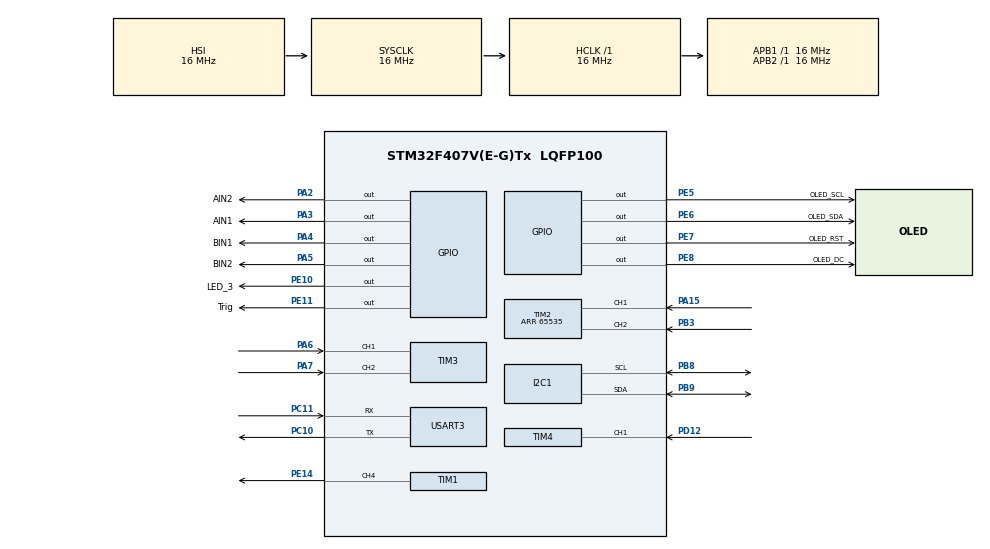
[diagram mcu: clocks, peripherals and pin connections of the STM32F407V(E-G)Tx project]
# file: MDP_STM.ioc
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FREERTOS.Tasks01=defaultTask,24,128,StartDefaultTask,Default,NULL,Dynamic,NULL,NULL;ShowText,8,128,show,Default,NULL,Dynamic,NULL,NULL;MotorTask,8,128,Motor,Default,NULL,Dynamic,NULL,NULL;EncoderTask,8,128,encoder_task,Default,NULL,Dynamic,NULL,NULL;gyroTask,8,128,gyro_task,Default,NULL,Dynamic,NULL,NULL;UltraSoundTask,8,128,ultrasound_task,Default,NULL,Dynamic,NULL,NULL
Mcu.Family=STM32F4
Mcu.Name=STM32F407V(E-G)Tx
Mcu.Package=LQFP100
NVIC.PriorityGroup=NVIC_PRIORITYGROUP_4
NVIC.TIM4_IRQn=true\:5\:0\:false\:false\:true\:true\:true\:true\:true
NVIC.USART3_IRQn=true\:5\:0\:false\:false\:true\:true\:true\:true\:true
PA15.Signal=S_TIM2_CH1_ETR
PA2.GPIO_Label=AIN2
PA2.GPIO_Speed=GPIO_SPEED_FREQ_HIGH
PA2.Signal=GPIO_Output
PA3.GPIO_Label=AIN1
PA3.GPIO_Speed=GPIO_SPEED_FREQ_HIGH
PA3.Signal=GPIO_Output
PA4.GPIO_Label=BIN1
PA4.GPIO_Speed=GPIO_SPEED_FREQ_HIGH
PA4.Signal=GPIO_Output
PA5.GPIO_Label=BIN2
PA5.GPIO_Speed=GPIO_SPEED_FREQ_HIGH
PA5.Signal=GPIO_Output
PA6.Signal=S_TIM3_CH1
PA7.Signal=S_TIM3_CH2
PB3.GPIO_ModeDefaultPP=GPIO_MODE_AF_PP
PB3.Signal=S_TIM2_CH2
PB8.Mode=I2C
PB8.Signal=I2C1_SCL
PB9.Mode=I2C
PB9.Signal=I2C1_SDA
PC10.Mode=Asynchronous
PC10.Signal=USART3_TX
PC11.Mode=Asynchronous
PC11.Signal=USART3_RX
PC6.GPIO_Label=PWMA
PC6.Signal=S_TIM8_CH1
PC7.GPIO_Label=PWNB
PC7.Signal=S_TIM8_CH2
PD12.Signal=S_TIM4_CH1
PE10.GPIO_Label=LED_3
PE10.Signal=GPIO_Output
PE11.GPIO_Label=Trig
PE11.Signal=GPIO_Output
PE14.Signal=S_TIM1_CH4
PE5.GPIO_Label=OLED_SCL
PE5.Signal=GPIO_Output
PE6.GPIO_Label=OLED_SDA
PE6.Signal=GPIO_Output
PE7.GPIO_Label=OLED_RST
PE7.Signal=GPIO_Output
PE8.GPIO_Label=OLED_DC
PE8.Signal=GPIO_Output
PH0-OSC_IN.Mode=HSE-External-Oscillator
PH0-OSC_IN.Signal=RCC_OSC_IN
PH1-OSC_OUT.Mode=HSE-External-Oscillator
PH1-OSC_OUT.Signal=RCC_OSC_OUT
ProjectManager.HeapSize=0x200
ProjectManager.StackSize=0x400
ProjectManager.TargetToolchain=STM32CubeIDE
RCC.AHBFreq_Value=16000000
RCC.APB1Freq_Value=16000000
RCC.APB2Freq_Value=16000000
RCC.CortexFreq_Value=16000000
RCC.HSE_VALUE=25000000
RCC.HSI_VALUE=16000000
RCC.LSE_VALUE=32768
RCC.SYSCLKFreq_VALUE=16000000
RCC.VCOOutputFreq_Value=192000000
SH.S_TIM1_CH4.0=TIM1_CH4,PWM Generation4 CH4
SH.S_TIM2_CH1_ETR.0=TIM2_CH1,Encoder_Interface
SH.S_TIM2_CH2.0=TIM2_CH2,Encoder_Interface
SH.S_TIM3_CH1.0=TIM3_CH1,Encoder_Interface
SH.S_TIM3_CH2.0=TIM3_CH2,Encoder_Interface
SH.S_TIM4_CH1.0=TIM4_CH1,Input_Capture1_from_TI1
SH.S_TIM8_CH1.0=TIM8_CH1
SH.S_TIM8_CH2.0=TIM8_CH2
TIM1.AutoReloadPreload=TIM_AUTORELOAD_PRELOAD_ENABLE
TIM1.Channel-PWM\ Generation4\ CH4=TIM_CHANNEL_4
TIM1.Period=1000
TIM1.Prescaler=160
TIM2.EncoderMode=TIM_ENCODERMODE_TI12
TIM2.IC1Filter=10
TIM2.IC2Filter=10
TIM2.Period=65535
TIM3.EncoderMode=TIM_ENCODERMODE_TI12
TIM3.IC1Filter=10
TIM3.IC2Filter=10
TIM4.Channel-Input_Capture1_from_TI1=TIM_CHANNEL_1
TIM4.Prescaler=16-1
TIM7.Prescaler=16-1
TIM8.Channel-PWM\ Generation1\ No\ Output=TIM_CHANNEL_1
TIM8.Channel-PWM\ Generation2\ No\ Output=TIM_CHANNEL_2
TIM8.Period=7199
USART3.VirtualMode=VM_ASYNC
VP_FREERTOS_VS_CMSIS_V2.Mode=CMSIS_V2
VP_TIM1_VS_ClockSourceINT.Mode=Internal
VP_TIM4_VS_ClockSourceINT.Mode=Internal
VP_TIM7_VS_ClockSourceINT.Mode=Enable_Timer
VP_TIM8_VS_ClockSourceINT.Mode=Internal
VP_TIM8_VS_no_output1.Mode=PWM Generation1 No Output
VP_TIM8_VS_no_output2.Mode=PWM Generation2 No Output
board=custom

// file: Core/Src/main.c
/* USER CODE BEGIN Header */
/**
  ******************************************************************************
  * @file           : main.c
  * @brief          : Main program body
  ******************************************************************************
  * @attention
  *
  * Copyright (c) 2022 STMicroelectronics.
  * All rights reserved.
  *
  * This software is licensed under terms that can be found in the LICENSE file
  * in the root directory of this software component.
  * If no LICENSE file comes with this software, it is provided AS-IS.
  *
  ******************************************************************************
  */
/* USER CODE END Header */
#include "main.h"
#include "cmsis_os.h"
#include "string.h"

/* USER CODE BEGIN Includes */
#include "oled.h"
#include "PID.h"
#include <stdio.h>
#include <stdlib.h>
/* USER CODE END Includes */

/* USER CODE BEGIN PTD */
typedef struct _command{
	char MOTOR_DIR;
	char SERVO_DIR;
	int MAGNITUDE;
} Cmd;
/* USER CODE END PTD */

I2C_HandleTypeDef hi2c1;

TIM_HandleTypeDef htim1;
TIM_HandleTypeDef htim2;
TIM_HandleTypeDef htim3;
TIM_HandleTypeDef htim4;
TIM_HandleTypeDef htim7;
TIM_HandleTypeDef htim8;

UART_HandleTypeDef huart3;

/* Definitions for defaultTask */
osThreadId_t defaultTaskHandle;
const osThreadAttr_t defaultTask_attributes = {
  .name = "defaultTask",
  .stack_size = 128 * 4,
  .priority = (osPriority_t) osPriorityNormal,
};
/* Definitions for ShowText */
osThreadId_t ShowTextHandle;
const osThreadAttr_t ShowText_attributes = {
  .name = "ShowText",
  .stack_size = 128 * 4,
  .priority = (osPriority_t) osPriorityLow,
};
/* Definitions for MotorTask */
osThreadId_t MotorTaskHandle;
const osThreadAttr_t MotorTask_attributes = {
  .name = "MotorTask",
  .stack_size = 128 * 4,
  .priority = (osPriority_t) osPriorityLow,
};
/* Definitions for EncoderTask */
osThreadId_t EncoderTaskHandle;
const osThreadAttr_t EncoderTask_attributes = {
  .name = "EncoderTask",
  .stack_size = 128 * 4,
  .priority = (osPriority_t) osPriorityLow,
};
/* Definitions for gyroTask */
osThreadId_t gyroTaskHandle;
const osThreadAttr_t gyroTask_attributes = {
  .name = "gyroTask",
  .stack_size = 128 * 4,
  .priority = (osPriority_t) osPriorityLow,
};
/* Definitions for UltraSoundTask */
osThreadId_t UltraSoundTaskHandle;
const osThreadAttr_t UltraSoundTask_attributes = {
  .name = "UltraSoundTask",
  .stack_size = 128 * 4,
  .priority = (osPriority_t) osPriorityLow,
};

void SystemClock_Config(void);
static void MX_GPIO_Init(void);
static void MX_TIM8_Init(void);
static void MX_TIM2_Init(void);
static void MX_TIM1_Init(void);
static void MX_TIM3_Init(void);
static void MX_USART3_UART_Init(void);
static void MX_I2C1_Init(void);
static void MX_TIM4_Init(void);
static void MX_TIM7_Init(void);
void StartDefaultTask(void *argument);
void show(void *argument);
void Motor(void *argument);
void encoder_task(void *argument);
void gyro_task(void *argument);
void ultrasound_task(void *argument);

/* USER CODE BEGIN PFP */
void forward_motor_prep();
void backward_motor_prep();
void servomotor_center();
void servomotor_left();
void servomotor_right();
void servomotor_set(int value);
void move(float distance , int frontorback, int leftorright);
void HAL_UART_RxCpltCallback(UART_HandleTypeDef *huart);
void send_message(uint8_t * header, uint8_t * message);
void process_UART_Rx();
void gyroInit();
void writeByte(uint8_t addr,uint8_t data);
void readByte(uint8_t addr, uint8_t* data);
void state_controller(Cmd *command);
void pid_controller();
void prep_robot(char MDIR, char SDIR);
void right_turn(int angle);
void left_turn(int angle);
void reset_trackers();
int calc_progress(Cmd command);
void HCSR04_Read (void);
void delay_us(uint16_t us);

/* USER CODE END PFP */

/* USER CODE BEGIN 0 */
//UART Global Variables
const int BUFFER_SIZE = 20;
uint8_t aRxBuffer[20]; //Buffer of 20 bytes
//Gyroscope Global Variables
uint8_t ICM_ADDR = 0x68;
uint8_t buff[20]; //Gyroscope buffer
double TOTAL_ANGLE = 0;
double TURNING_ANGLE = 0;
double TARGET_ANGLE = 0;
//OLED Global Variables
uint8_t OLED_Row_0[20],OLED_Row_1[20],OLED_Row_2[20],OLED_Row_3[20],OLED_Row_4[20],OLED_Row_5[20];
//Motor Global Variables
int PWML, PWMR;
int motor_dir; //Backward = -1, Stop = 0, Forward = 1
//Encoder Glober Variable
int left_speed, right_speed;
double LEFTWHEEL_DIST = 0;
double RIGHTWHEEL_DIST = 0;
//Servo Global Variables
int servo_dir; //Left = -1, Center = 0, Right = 1
int SERVO_CENTER = 150;
int SERVO_LEFTMAX = 100;
int SERVO_RIGHTMAX = 210;
int SERVO_CURRENT;
//State Control & PID Global Variables
int RX_FLAG = 0; //Signals when RX message received
int BUSY = 0; //Tracks when a command is being processed
int PID_DELAY = 0; //Delay PID for 500ms
int PID_ENABLE = 0; //PID on/off
int ANGLE_OFFSET = 0; //Angle offset for straight movement
char RX_MOTOR;
char RX_SERVO;
int RX_MAG;
//UART Global Variables
uint8_t TX_STRING[9]; //9 bytes to transfer (Header + 5 Byte message)
uint8_t UART_RPI[4] = {'R','P','I','|'};
uint8_t UART_ALG[4] = {'A','L','G','|'};
uint8_t UART_AND[4] = {'A','N','D','|'};
//Ultrasound Global Variables
uint32_t Echo_Val1 = 0;
uint32_t Echo_Val2 = 0;
uint32_t Difference = 0;
uint8_t Is_First_Captured = 0;
double ultra_Distance  = 0; //Ultrasound distance
//Nmber of ticks for one full rotation of wheel
double full_rotation_wheel = 1580;
double circumference_wheel = 21.3;
Cmd command;
/* USER CODE END 0 */

int main(void)
{

  /* MCU Configuration--------------------------------------------------------*/

  /* Reset of all peripherals, Initializes the Flash interface and the Systick. */
  HAL_Init();

  /* Configure the system clock */
  SystemClock_Config();

  /* Initialize all configured peripherals */
  MX_GPIO_Init();
  MX_TIM8_Init();
  MX_TIM2_Init();
  MX_TIM1_Init();
  MX_TIM3_Init();
  MX_USART3_UART_Init();
  MX_I2C1_Init();
  MX_TIM4_Init();
  MX_TIM7_Init();
  /* USER CODE BEGIN 2 */
  OLED_Init();
  HAL_TIM_Base_Start(&htim7); //start timer to use delay_ms function for ultrasonic task
  HAL_UART_Receive_IT(&huart3,(uint8_t *)aRxBuffer, 5); //Receive 3 bytes
  /* USER CODE END 2 */

  /* Init scheduler */
  osKernelInitialize();

  /* Create the thread(s) */
  /* creation of defaultTask */
  defaultTaskHandle = osThreadNew(StartDefaultTask, NULL, &defaultTask_attributes);

  /* creation of ShowText */
  ShowTextHandle = osThreadNew(show, NULL, &ShowText_attributes);

  /* creation of MotorTask */
  MotorTaskHandle = osThreadNew(Motor, NULL, &MotorTask_attributes);

  /* creation of EncoderTask */
  EncoderTaskHandle = osThreadNew(encoder_task, NULL, &EncoderTask_attributes);

  /* creation of gyroTask */
  gyroTaskHandle = osThreadNew(gyro_task, NULL, &gyroTask_attributes);

  /* creation of UltraSoundTask */
  UltraSoundTaskHandle = osThreadNew(ultrasound_task, NULL, &UltraSoundTask_attributes);

  /* Start scheduler */
  osKernelStart();

  /* We should never get here as control is now taken by the scheduler */
  /* Infinite loop */
  while (1)
  {

  }
}

void SystemClock_Config(void)
{
  RCC_OscInitTypeDef RCC_OscInitStruct = {0};
  RCC_ClkInitTypeDef RCC_ClkInitStruct = {0};

  /** Configure the main internal regulator output voltage
  */
  __HAL_RCC_PWR_CLK_ENABLE();
  __HAL_PWR_VOLTAGESCALING_CONFIG(PWR_REGULATOR_VOLTAGE_SCALE1);

  /** Initializes the RCC Oscillators according to the specified parameters
  * in the RCC_OscInitTypeDef structure.
  */
  RCC_OscInitStruct.OscillatorType = RCC_OSCILLATORTYPE_HSI;
  RCC_OscInitStruct.HSIState = RCC_HSI_ON;
  RCC_OscInitStruct.HSICalibrationValue = RCC_HSICALIBRATION_DEFAULT;
  RCC_OscInitStruct.PLL.PLLState = RCC_PLL_NONE;
  if (HAL_RCC_OscConfig(&RCC_OscInitStruct) != HAL_OK)
  {
    Error_Handler();
  }

  /** Initializes the CPU, AHB and APB buses clocks
  */
  RCC_ClkInitStruct.ClockType = RCC_CLOCKTYPE_HCLK|RCC_CLOCKTYPE_SYSCLK
                              |RCC_CLOCKTYPE_PCLK1|RCC_CLOCKTYPE_PCLK2;
  RCC_ClkInitStruct.SYSCLKSource = RCC_SYSCLKSOURCE_HSI;
  RCC_ClkInitStruct.AHBCLKDivider = RCC_SYSCLK_DIV1;
  RCC_ClkInitStruct.APB1CLKDivider = RCC_HCLK_DIV1;
  RCC_ClkInitStruct.APB2CLKDivider = RCC_HCLK_DIV1;

  if (HAL_RCC_ClockConfig(&RCC_ClkInitStruct, FLASH_LATENCY_0) != HAL_OK)
  {
    Error_Handler();
  }
}

static void MX_I2C1_Init(void)
{

  hi2c1.Instance = I2C1;
  hi2c1.Init.ClockSpeed = 100000;
  hi2c1.Init.DutyCycle = I2C_DUTYCYCLE_2;
  hi2c1.Init.OwnAddress1 = 0;
  hi2c1.Init.AddressingMode = I2C_ADDRESSINGMODE_7BIT;
  hi2c1.Init.DualAddressMode = I2C_DUALADDRESS_DISABLE;
  hi2c1.Init.OwnAddress2 = 0;
  hi2c1.Init.GeneralCallMode = I2C_GENERALCALL_DISABLE;
  hi2c1.Init.NoStretchMode = I2C_NOSTRETCH_DISABLE;
  if (HAL_I2C_Init(&hi2c1) != HAL_OK)
  {
    Error_Handler();
  }

}

static void MX_TIM1_Init(void)
{

  TIM_ClockConfigTypeDef sClockSourceConfig = {0};
  TIM_MasterConfigTypeDef sMasterConfig = {0};
  TIM_OC_InitTypeDef sConfigOC = {0};
  TIM_BreakDeadTimeConfigTypeDef sBreakDeadTimeConfig = {0};

  htim1.Instance = TIM1;
  htim1.Init.Prescaler = 160;
  htim1.Init.CounterMode = TIM_COUNTERMODE_UP;
  htim1.Init.Period = 1000;
  htim1.Init.ClockDivision = TIM_CLOCKDIVISION_DIV1;
  htim1.Init.RepetitionCounter = 0;
  htim1.Init.AutoReloadPreload = TIM_AUTORELOAD_PRELOAD_ENABLE;
  if (HAL_TIM_Base_Init(&htim1) != HAL_OK)
  {
    Error_Handler();
  }
  sClockSourceConfig.ClockSource = TIM_CLOCKSOURCE_INTERNAL;
  if (HAL_TIM_ConfigClockSource(&htim1, &sClockSourceConfig) != HAL_OK)
  {
    Error_Handler();
  }
  if (HAL_TIM_PWM_Init(&htim1) != HAL_OK)
  {
    Error_Handler();
  }
  sMasterConfig.MasterOutputTrigger = TIM_TRGO_RESET;
  sMasterConfig.MasterSlaveMode = TIM_MASTERSLAVEMODE_DISABLE;
  if (HAL_TIMEx_MasterConfigSynchronization(&htim1, &sMasterConfig) != HAL_OK)
  {
    Error_Handler();
  }
  sConfigOC.OCMode = TIM_OCMODE_PWM1;
  sConfigOC.Pulse = 0;
  sConfigOC.OCPolarity = TIM_OCPOLARITY_HIGH;
  sConfigOC.OCFastMode = TIM_OCFAST_DISABLE;
  sConfigOC.OCIdleState = TIM_OCIDLESTATE_RESET;
  sConfigOC.OCNIdleState = TIM_OCNIDLESTATE_RESET;
  if (HAL_TIM_PWM_ConfigChannel(&htim1, &sConfigOC, TIM_CHANNEL_4) != HAL_OK)
  {
    Error_Handler();
  }
  sBreakDeadTimeConfig.OffStateRunMode = TIM_OSSR_DISABLE;
  sBreakDeadTimeConfig.OffStateIDLEMode = TIM_OSSI_DISABLE;
  sBreakDeadTimeConfig.LockLevel = TIM_LOCKLEVEL_OFF;
  sBreakDeadTimeConfig.DeadTime = 0;
  sBreakDeadTimeConfig.BreakState = TIM_BREAK_DISABLE;
  sBreakDeadTimeConfig.BreakPolarity = TIM_BREAKPOLARITY_HIGH;
  sBreakDeadTimeConfig.AutomaticOutput = TIM_AUTOMATICOUTPUT_DISABLE;
  if (HAL_TIMEx_ConfigBreakDeadTime(&htim1, &sBreakDeadTimeConfig) != HAL_OK)
  {
    Error_Handler();
  }
  HAL_TIM_MspPostInit(&htim1);

}

static void MX_TIM2_Init(void)
{

  TIM_Encoder_InitTypeDef sConfig = {0};
  TIM_MasterConfigTypeDef sMasterConfig = {0};

  htim2.Instance = TIM2;
  htim2.Init.Prescaler = 0;
  htim2.Init.CounterMode = TIM_COUNTERMODE_UP;
  htim2.Init.Period = 65535;
  htim2.Init.ClockDivision = TIM_CLOCKDIVISION_DIV1;
  htim2.Init.AutoReloadPreload = TIM_AUTORELOAD_PRELOAD_DISABLE;
  sConfig.EncoderMode = TIM_ENCODERMODE_TI12;
  sConfig.IC1Polarity = TIM_ICPOLARITY_RISING;
  sConfig.IC1Selection = TIM_ICSELECTION_DIRECTTI;
  sConfig.IC1Prescaler = TIM_ICPSC_DIV1;
  sConfig.IC1Filter = 10;
  sConfig.IC2Polarity = TIM_ICPOLARITY_RISING;
  sConfig.IC2Selection = TIM_ICSELECTION_DIRECTTI;
  sConfig.IC2Prescaler = TIM_ICPSC_DIV1;
  sConfig.IC2Filter = 10;
  if (HAL_TIM_Encoder_Init(&htim2, &sConfig) != HAL_OK)
  {
    Error_Handler();
  }
  sMasterConfig.MasterOutputTrigger = TIM_TRGO_RESET;
  sMasterConfig.MasterSlaveMode = TIM_MASTERSLAVEMODE_DISABLE;
  if (HAL_TIMEx_MasterConfigSynchronization(&htim2, &sMasterConfig) != HAL_OK)
  {
    Error_Handler();
  }

}

static void MX_TIM3_Init(void)
{

  TIM_Encoder_InitTypeDef sConfig = {0};
  TIM_MasterConfigTypeDef sMasterConfig = {0};

  htim3.Instance = TIM3;
  htim3.Init.Prescaler = 0;
  htim3.Init.CounterMode = TIM_COUNTERMODE_UP;
  htim3.Init.Period = 65535;
  htim3.Init.ClockDivision = TIM_CLOCKDIVISION_DIV1;
  htim3.Init.AutoReloadPreload = TIM_AUTORELOAD_PRELOAD_DISABLE;
  sConfig.EncoderMode = TIM_ENCODERMODE_TI12;
  sConfig.IC1Polarity = TIM_ICPOLARITY_RISING;
  sConfig.IC1Selection = TIM_ICSELECTION_DIRECTTI;
  sConfig.IC1Prescaler = TIM_ICPSC_DIV1;
  sConfig.IC1Filter = 10;
  sConfig.IC2Polarity = TIM_ICPOLARITY_RISING;
  sConfig.IC2Selection = TIM_ICSELECTION_DIRECTTI;
  sConfig.IC2Prescaler = TIM_ICPSC_DIV1;
  sConfig.IC2Filter = 10;
  if (HAL_TIM_Encoder_Init(&htim3, &sConfig) != HAL_OK)
  {
    Error_Handler();
  }
  sMasterConfig.MasterOutputTrigger = TIM_TRGO_RESET;
  sMasterConfig.MasterSlaveMode = TIM_MASTERSLAVEMODE_DISABLE;
  if (HAL_TIMEx_MasterConfigSynchronization(&htim3, &sMasterConfig) != HAL_OK)
  {
    Error_Handler();
  }

}

static void MX_TIM4_Init(void)
{

  TIM_ClockConfigTypeDef sClockSourceConfig = {0};
  TIM_MasterConfigTypeDef sMasterConfig = {0};
  TIM_IC_InitTypeDef sConfigIC = {0};

  htim4.Instance = TIM4;
  htim4.Init.Prescaler = 16-1;
  htim4.Init.CounterMode = TIM_COUNTERMODE_UP;
  htim4.Init.Period = 65535;
  htim4.Init.ClockDivision = TIM_CLOCKDIVISION_DIV1;
  htim4.Init.AutoReloadPreload = TIM_AUTORELOAD_PRELOAD_DISABLE;
  if (HAL_TIM_Base_Init(&htim4) != HAL_OK)
  {
    Error_Handler();
  }
  sClockSourceConfig.ClockSource = TIM_CLOCKSOURCE_INTERNAL;
  if (HAL_TIM_ConfigClockSource(&htim4, &sClockSourceConfig) != HAL_OK)
  {
    Error_Handler();
  }
  if (HAL_TIM_IC_Init(&htim4) != HAL_OK)
  {
    Error_Handler();
  }
  sMasterConfig.MasterOutputTrigger = TIM_TRGO_RESET;
  sMasterConfig.MasterSlaveMode = TIM_MASTERSLAVEMODE_DISABLE;
  if (HAL_TIMEx_MasterConfigSynchronization(&htim4, &sMasterConfig) != HAL_OK)
  {
    Error_Handler();
  }
  sConfigIC.ICPolarity = TIM_INPUTCHANNELPOLARITY_RISING;
  sConfigIC.ICSelection = TIM_ICSELECTION_DIRECTTI;
  sConfigIC.ICPrescaler = TIM_ICPSC_DIV1;
  sConfigIC.ICFilter = 0;
  if (HAL_TIM_IC_ConfigChannel(&htim4, &sConfigIC, TIM_CHANNEL_1) != HAL_OK)
  {
    Error_Handler();
  }

}

static void MX_TIM7_Init(void)
{

  TIM_MasterConfigTypeDef sMasterConfig = {0};

  htim7.Instance = TIM7;
  htim7.Init.Prescaler = 16-1;
  htim7.Init.CounterMode = TIM_COUNTERMODE_UP;
  htim7.Init.Period = 65535;
  htim7.Init.AutoReloadPreload = TIM_AUTORELOAD_PRELOAD_DISABLE;
  if (HAL_TIM_Base_Init(&htim7) != HAL_OK)
  {
    Error_Handler();
  }
  sMasterConfig.MasterOutputTrigger = TIM_TRGO_RESET;
  sMasterConfig.MasterSlaveMode = TIM_MASTERSLAVEMODE_DISABLE;
  if (HAL_TIMEx_MasterConfigSynchronization(&htim7, &sMasterConfig) != HAL_OK)
  {
    Error_Handler();
  }

}

static void MX_TIM8_Init(void)
{

  TIM_ClockConfigTypeDef sClockSourceConfig = {0};
  TIM_MasterConfigTypeDef sMasterConfig = {0};
  TIM_OC_InitTypeDef sConfigOC = {0};
  TIM_BreakDeadTimeConfigTypeDef sBreakDeadTimeConfig = {0};

  htim8.Instance = TIM8;
  htim8.Init.Prescaler = 0;
  htim8.Init.CounterMode = TIM_COUNTERMODE_UP;
  htim8.Init.Period = 7199;
  htim8.Init.ClockDivision = TIM_CLOCKDIVISION_DIV1;
  htim8.Init.RepetitionCounter = 0;
  htim8.Init.AutoReloadPreload = TIM_AUTORELOAD_PRELOAD_DISABLE;
  if (HAL_TIM_Base_Init(&htim8) != HAL_OK)
  {
    Error_Handler();
  }
  sClockSourceConfig.ClockSource = TIM_CLOCKSOURCE_INTERNAL;
  if (HAL_TIM_ConfigClockSource(&htim8, &sClockSourceConfig) != HAL_OK)
  {
    Error_Handler();
  }
  if (HAL_TIM_PWM_Init(&htim8) != HAL_OK)
  {
    Error_Handler();
  }
  sMasterConfig.MasterOutputTrigger = TIM_TRGO_RESET;
  sMasterConfig.MasterSlaveMode = TIM_MASTERSLAVEMODE_DISABLE;
  if (HAL_TIMEx_MasterConfigSynchronization(&htim8, &sMasterConfig) != HAL_OK)
  {
    Error_Handler();
  }
  sConfigOC.OCMode = TIM_OCMODE_PWM1;
  sConfigOC.Pulse = 0;
  sConfigOC.OCPolarity = TIM_OCPOLARITY_HIGH;
  sConfigOC.OCNPolarity = TIM_OCNPOLARITY_HIGH;
  sConfigOC.OCFastMode = TIM_OCFAST_DISABLE;
  sConfigOC.OCIdleState = TIM_OCIDLESTATE_RESET;
  sConfigOC.OCNIdleState = TIM_OCNIDLESTATE_RESET;
  if (HAL_TIM_PWM_ConfigChannel(&htim8, &sConfigOC, TIM_CHANNEL_1) != HAL_OK)
  {
    Error_Handler();
  }
  if (HAL_TIM_PWM_ConfigChannel(&htim8, &sConfigOC, TIM_CHANNEL_2) != HAL_OK)
  {
    Error_Handler();
  }
  sBreakDeadTimeConfig.OffStateRunMode = TIM_OSSR_DISABLE;
  sBreakDeadTimeConfig.OffStateIDLEMode = TIM_OSSI_DISABLE;
  sBreakDeadTimeConfig.LockLevel = TIM_LOCKLEVEL_OFF;
  sBreakDeadTimeConfig.DeadTime = 0;
  sBreakDeadTimeConfig.BreakState = TIM_BREAK_DISABLE;
  sBreakDeadTimeConfig.BreakPolarity = TIM_BREAKPOLARITY_HIGH;
  sBreakDeadTimeConfig.AutomaticOutput = TIM_AUTOMATICOUTPUT_DISABLE;
  if (HAL_TIMEx_ConfigBreakDeadTime(&htim8, &sBreakDeadTimeConfig) != HAL_OK)
  {
    Error_Handler();
  }

}

static void MX_USART3_UART_Init(void)
{

  huart3.Instance = USART3;
  huart3.Init.BaudRate = 115200;
  huart3.Init.WordLength = UART_WORDLENGTH_8B;
  huart3.Init.StopBits = UART_STOPBITS_1;
  huart3.Init.Parity = UART_PARITY_NONE;
  huart3.Init.Mode = UART_MODE_TX_RX;
  huart3.Init.HwFlowCtl = UART_HWCONTROL_NONE;
  huart3.Init.OverSampling = UART_OVERSAMPLING_16;
  if (HAL_UART_Init(&huart3) != HAL_OK)
  {
    Error_Handler();
  }

}

static void MX_GPIO_Init(void)
{
  GPIO_InitTypeDef GPIO_InitStruct = {0};

  /* GPIO Ports Clock Enable */
  __HAL_RCC_GPIOE_CLK_ENABLE();
  __HAL_RCC_GPIOH_CLK_ENABLE();
  __HAL_RCC_GPIOA_CLK_ENABLE();
  __HAL_RCC_GPIOD_CLK_ENABLE();
  __HAL_RCC_GPIOC_CLK_ENABLE();
  __HAL_RCC_GPIOB_CLK_ENABLE();

  /*Configure GPIO pin Output Level */
  HAL_GPIO_WritePin(GPIOE, OLED_SCL_Pin|OLED_SDA_Pin|OLED_RST_Pin|OLED_DC_Pin
                          |LED_3_Pin|Trig_Pin, GPIO_PIN_RESET);

  /*Configure GPIO pin Output Level */
  HAL_GPIO_WritePin(GPIOA, AIN2_Pin|AIN1_Pin|BIN1_Pin|BIN2_Pin, GPIO_PIN_RESET);

  /*Configure GPIO pins : OLED_SCL_Pin OLED_SDA_Pin OLED_RST_Pin OLED_DC_Pin
                           LED_3_Pin Trig_Pin */
  GPIO_InitStruct.Pin = OLED_SCL_Pin|OLED_SDA_Pin|OLED_RST_Pin|OLED_DC_Pin
                          |LED_3_Pin|Trig_Pin;
  GPIO_InitStruct.Mode = GPIO_MODE_OUTPUT_PP;
  GPIO_InitStruct.Pull = GPIO_NOPULL;
  GPIO_InitStruct.Speed = GPIO_SPEED_FREQ_LOW;
  HAL_GPIO_Init(GPIOE, &GPIO_InitStruct);

  /*Configure GPIO pins : AIN2_Pin AIN1_Pin BIN1_Pin BIN2_Pin */
  GPIO_InitStruct.Pin = AIN2_Pin|AIN1_Pin|BIN1_Pin|BIN2_Pin;
  GPIO_InitStruct.Mode = GPIO_MODE_OUTPUT_PP;
  GPIO_InitStruct.Pull = GPIO_NOPULL;
  GPIO_InitStruct.Speed = GPIO_SPEED_FREQ_HIGH;
  HAL_GPIO_Init(GPIOA, &GPIO_InitStruct);

}

/* USER CODE BEGIN 4 */
void forward_motor_prep()
{
	HAL_GPIO_WritePin(GPIOA,AIN2_Pin,GPIO_PIN_RESET);
	HAL_GPIO_WritePin(GPIOA,AIN1_Pin,GPIO_PIN_SET);
	HAL_GPIO_WritePin(GPIOA,BIN2_Pin,GPIO_PIN_RESET);
	HAL_GPIO_WritePin(GPIOA,BIN1_Pin,GPIO_PIN_SET);
}

void backward_motor_prep()
{
	HAL_GPIO_WritePin(GPIOA,AIN2_Pin,GPIO_PIN_SET);
	HAL_GPIO_WritePin(GPIOA,AIN1_Pin,GPIO_PIN_RESET);
	HAL_GPIO_WritePin(GPIOA,BIN2_Pin,GPIO_PIN_SET);
	HAL_GPIO_WritePin(GPIOA,BIN1_Pin,GPIO_PIN_RESET);
}

void servomotor_center()
{
	// default: 150
	uint32_t value = 165;
	if (htim1.Instance->CCR4 == value){
		return;
	}
	htim1.Instance->CCR4 = value;
	osDelay(200);
}

void servomotor_left()
{
	// default: 107
	uint32_t value = 107;
	if (htim1.Instance->CCR4 == value){
			return;
	}
	htim1.Instance->CCR4 = value;
	osDelay(200);
}

void servomotor_right()
{
	// default: 225
	uint32_t value = 225;
	if (htim1.Instance->CCR4 == value){
			return;
	}
	htim1.Instance->CCR4 = value;
	osDelay(200);
}

void servomotor_set(int value)
{
	if (value >= 200) value = 200;
	if (value <= 100) value = 100;
	if (htim1.Instance->CCR4 == value){
			return;
	}
	htim1.Instance->CCR4 = value;
	osDelay(200);
}

void move(float distance, int frontorback , int leftorright) //Keep for debugging purpose
{
	//default PWM values
	int pwmval_L = 1500;
	int pwmval_R = 1500;
	int flag = 1;

	//distance of the left & right wheel travelled
	float LEFTWHEEL_DIST = 0;
	float RIGHTWHEEL_DIST = 0;
	float temp_leftwheel_dist = 0;
	float temp_rightwheel_dist = 0;

	//number of ticks for one full rotation of wheel
	float full_rotation_wheel = 1320;
	float circumference_wheel = 20.4f;

	//store the ticks from each encoder
	int left_encoder_prev, right_encoder_prev, left_encoder, right_encoder, diff_left, diff_right;

	//used to determine the rate at which we make adjustments
	uint32_t start_time , prev_time, curr_time;

	//Decide the correct motion based on the input parameters
	if (frontorback){//front
		forward_motor_prep();
	}
	else {
		backward_motor_prep();
	}

	if(leftorright == 1){//left
		servomotor_left();
	}
	else if(leftorright == 0){
		servomotor_right();
	}
	else {
		servomotor_center();
	}

	left_encoder_prev = __HAL_TIM_GET_COUNTER(&htim2);
	right_encoder_prev = __HAL_TIM_GET_COUNTER(&htim3);
	start_time = HAL_GetTick();
	prev_time = start_time;

	//Start the motor
	__HAL_TIM_SetCompare(&htim8, TIM_CHANNEL_1, pwmval_L);
	__HAL_TIM_SetCompare(&htim8, TIM_CHANNEL_2, pwmval_R);

	uint8_t hello[20], hello1[20];
	//run until my duration set is up
	while (flag){
		if(HAL_GetTick() - start_time > 1000L){
			left_encoder = __HAL_TIM_GET_COUNTER(&htim2);
			right_encoder = __HAL_TIM_GET_COUNTER(&htim3);

			if(__HAL_TIM_IS_TIM_COUNTING_DOWN(&htim2))
			{
				if(left_encoder < left_encoder_prev)
				{
					diff_left = left_encoder_prev - left_encoder;
				}
				else
				{
					diff_left = (65535 - left_encoder) + left_encoder_prev;
				}
			}
			else
			{
				if(left_encoder > left_encoder_prev)
				{
					diff_left = left_encoder - left_encoder_prev;
				}
				else
				{
					diff_left = (65535 - left_encoder_prev);
				}
			}
			if(__HAL_TIM_IS_TIM_COUNTING_DOWN(&htim3))
			{
				if(right_encoder < right_encoder_prev)
				{
					diff_right = right_encoder_prev - right_encoder;
				}
				else
				{
					diff_right = (65535 - right_encoder) + right_encoder_prev;
				}
			}
			else
			{
				if(right_encoder > right_encoder_prev)
				{
					diff_right = right_encoder - right_encoder_prev;
				}
				else
				{
					diff_right = (65535 - right_encoder_prev);
				}
			}
			left_encoder_prev = __HAL_TIM_GET_COUNTER(&htim2);
			right_encoder_prev = __HAL_TIM_GET_COUNTER(&htim3);
			start_time = HAL_GetTick(); //tick value in milliseconds

			//Calculate the distance covered and compare with distance we input
			temp_leftwheel_dist = ((float)diff_left/full_rotation_wheel) * circumference_wheel;
			LEFTWHEEL_DIST += temp_leftwheel_dist;

			temp_rightwheel_dist = ((float)diff_right/full_rotation_wheel) * circumference_wheel;
			RIGHTWHEEL_DIST += temp_rightwheel_dist;

			if (LEFTWHEEL_DIST >= distance || RIGHTWHEEL_DIST >= distance){ //stop condition
				__HAL_TIM_SetCompare(&htim8, TIM_CHANNEL_1, 0);
				__HAL_TIM_SetCompare(&htim8, TIM_CHANNEL_2, 0);
				flag = 0;
			}
		}
	}
	HAL_Delay(100);
}

void right_turn(int angle) //Keep for debugging purpose
{
	//Prep the servomotor to right
	servomotor_right();

	osDelay(250);

	TURNING_ANGLE = 0;
	forward_motor_prep();
	//Start the motor
	__HAL_TIM_SetCompare(&htim8, TIM_CHANNEL_1, 1000);
	__HAL_TIM_SetCompare(&htim8, TIM_CHANNEL_2, 1000);

	while (TURNING_ANGLE > -1*angle){ //while it is still turning to the correct angle
		osDelay(10);
	}

	//Stop the Motor are completing the turn
	__HAL_TIM_SetCompare(&htim8, TIM_CHANNEL_1, 0);
	__HAL_TIM_SetCompare(&htim8, TIM_CHANNEL_2, 0);

	servomotor_center();

}

void left_turn(int angle) //Keep for debugging purpose
{
	//Prep the servomotor to left
	servomotor_left();

	osDelay(250);

	TURNING_ANGLE = 0;
	forward_motor_prep();
	//Start the motor
	__HAL_TIM_SetCompare(&htim8, TIM_CHANNEL_1, 1000);
	__HAL_TIM_SetCompare(&htim8, TIM_CHANNEL_2, 1000);

	while (TURNING_ANGLE < angle){ //while it is still turning to the correct angle
		osDelay(10);
	}

	//Stop the Motor are completing the turn
	__HAL_TIM_SetCompare(&htim8, TIM_CHANNEL_1, 0);
	__HAL_TIM_SetCompare(&htim8, TIM_CHANNEL_2, 0);

	servomotor_center();

}

void HAL_UART_RxCpltCallback(UART_HandleTypeDef *huart)
{
	/*Prevent unused argument(s) compilation warning*/
	UNUSED(huart);
	if(RX_FLAG == 0){
		RX_MOTOR = (char) aRxBuffer[0];
		RX_SERVO = (char) aRxBuffer[1];
		RX_MAG = ((int)(aRxBuffer[2] - '0') * 100) + ((int)(aRxBuffer[3] - '0') * 10) + ((int)(aRxBuffer[4] - '0'));
		RX_FLAG = 1;
	}
	HAL_UART_Receive_IT(&huart3,(uint8_t *)aRxBuffer,5);
}

void send_message(uint8_t * header, uint8_t * message){
	uint8_t transmit[9];
	int pos;
	for (pos=0;pos<4;pos++) transmit[pos] = header[pos];
	for (pos=0;pos<5;pos++) transmit[pos+4] = message[pos];
	HAL_UART_Transmit_IT(&huart3,(uint8_t *)transmit,9);
}

void process_UART_Rx() //Keep for debugging purpose
{
	if (RX_FLAG == 1){
		prep_robot(RX_MOTOR, RX_SERVO);
		RX_FLAG = 0;
	}
}

void state_controller (Cmd *command) {
	uint8_t complete = 0;
	double angle;
	if (command->SERVO_DIR == 'C'){
		//Check if robot has reached magnitude based on distance
		if (((LEFTWHEEL_DIST+RIGHTWHEEL_DIST)/2 + 5) >= command->MAGNITUDE){
			complete = 1;
		}
	}
	else if (command->SERVO_DIR == 'L' || command->SERVO_DIR == 'R'){
		//Check if robot has reached magnitude based on angle moved
//		if (TURNING_ANGLE < 0) angle = -TURNING_ANGLE;
//		else angle = TURNING_ANGLE;
//		if (angle + 9 >= command->MAGNITUDE) complete = 1;
		//Control by target_angle
		angle = TARGET_ANGLE - TOTAL_ANGLE;
		if (angle < 0) angle = -angle;
		while (angle > 360) angle -= 360;
		if (angle - 7 <= 0) complete = 1; //previous offset -9
	}
	else {
		osDelay(0.500 * command->MAGNITUDE);
		complete = 1;
	}
	//Send complete
	if (complete == 1){
		command->MOTOR_DIR = 0; command->SERVO_DIR = 0; command->MAGNITUDE = 0;
		__HAL_TIM_SetCompare(&htim8, TIM_CHANNEL_1, 0);
		__HAL_TIM_SetCompare(&htim8, TIM_CHANNEL_2, 0);
		TX_STRING[0] = 'A'; TX_STRING[1] = 'L'; TX_STRING[2] = 'G'; TX_STRING[3] = '|';
		TX_STRING[4] = 'C'; TX_STRING[5] = 'M'; TX_STRING[6] = 'P'; TX_STRING[7] = 'L'; TX_STRING[8] = 'T';
		HAL_UART_Transmit_IT(&huart3,(uint8_t *)TX_STRING,9);
//		send_message(UART_ALG, TX_STRING);
		BUSY = 0;
	}
}

void prep_robot(char MDIR, char SDIR){
	int state_change = 0;
	//Control servo direction L or R
	if (SDIR == 'L'){
		if (servo_dir != -1){
			servomotor_left();
			servo_dir = -1;
			state_change = 1;
		}
	}
	else if (SDIR == 'R'){
		if (servo_dir != 1){
			servomotor_right();
			servo_dir = 1;
			state_change = 1;
		}
	}
	//Control motor direction
	if (MDIR == 'F'){
		if (motor_dir != 1){
			forward_motor_prep();
			motor_dir = 1;
			state_change = 1;
		}
	}
	else if (MDIR == 'B'){
		if (motor_dir != -1){
			backward_motor_prep();
			motor_dir = -1;
			state_change = 1;
		}
	}
	else {
		if (motor_dir != 0){
			__HAL_TIM_SetCompare(&htim8, TIM_CHANNEL_1, 0);
			__HAL_TIM_SetCompare(&htim8, TIM_CHANNEL_2, 0);
			forward_motor_prep();
			motor_dir = 0;
			state_change = 1;
			osDelay(500);
		}
	}
	//Control servo direction C & PID fine control
	if (PID_ENABLE == 0){
		if (SDIR == 'C'){
			if (servo_dir != 0){
				servomotor_center();
				servo_dir = 0;
				state_change = 1;
			}
		}
		else if (SDIR != 'L' && SDIR != 'R' && SDIR != 'C') {
			if (servo_dir != 0){
				servomotor_center();
				servo_dir = 0;
				state_change = 1;
			}
		}
	}
	//State changes
	if (state_change == 1) reset_trackers();
}

void reset_trackers(){
	PID_DELAY = 1;
	PID_ENABLE = 0;
	TURNING_ANGLE = 0;
	LEFTWHEEL_DIST = 0;
	RIGHTWHEEL_DIST = 0;
	while (TARGET_ANGLE > 180) { TARGET_ANGLE -= 360; TOTAL_ANGLE -= 360; }
	while (TARGET_ANGLE < -180) { TARGET_ANGLE +=360; TOTAL_ANGLE += 360; }
}

int calc_progress(Cmd command){
	double progress;
	double angle;
	if (command.SERVO_DIR == 'C') {
		progress = (double)(LEFTWHEEL_DIST + RIGHTWHEEL_DIST) / (2 * (double)command.MAGNITUDE);
	}
	else if (command.SERVO_DIR == 'L' || command.SERVO_DIR == 'R'){
		if (TURNING_ANGLE < 0) angle = -TURNING_ANGLE;
		else angle = TURNING_ANGLE;
		progress = angle / (double)command.MAGNITUDE;
	}
	else{
		progress = -1;
	}
	return (int)(progress*1000);
}

void gyroInit()
{
  writeByte(0x06, 0x00);
  osDelayUntil(10);
  writeByte(0x03, 0x80);
  osDelayUntil(10);
  writeByte(0x07, 0x3F);
  osDelayUntil(10);
  writeByte(0x06, 0x01);
  osDelayUntil(10);
  writeByte(0x7F, 0x20); // go to bank 2
  osDelayUntil(10);
  writeByte(0x01, 0x2F); // config gyro, enable gyro, dlpf, set gyro to +-2000dps; gyro lpf = 3'b101
  osDelayUntil(10);
  writeByte(0x00, 0x00); // set gyro sample rate divider = 1 + 0(GYRO_SMPLRT_DIV[7:0])
  osDelayUntil(10);
  writeByte(0x01, 0x2F); // config accel, enable gyro, dlpf, set gyro to +-2000dps; gyro lpf = 3'b101
  osDelayUntil(10);
  writeByte(0x00, 0x00); // set gyro sample rate divider = 1 + 0(GYRO_SMPLRT_DIV[7:0])
  osDelayUntil(10);
  writeByte(0x7F, 0x00); // return to bank 1
  osDelayUntil(10);
  writeByte(0x07, 0x00);
  osDelayUntil(10);
}

void writeByte(uint8_t addr, uint8_t data)
{
  buff[0] = addr;
  buff[1] = data;
  HAL_I2C_Master_Transmit(&hi2c1, ICM_ADDR<<1, buff, 2, 20);
}

void readByte(uint8_t addr, uint8_t *data)
{
  buff[0] = addr;
  // Tell we want to read from the register
  HAL_I2C_Master_Transmit(&hi2c1, ICM_ADDR<<1, buff, 1, 10);
  // Read 2 byte from z dir register
  HAL_I2C_Master_Receive(&hi2c1, ICM_ADDR<<1, data, 2, 20);
}

void delay_us(uint16_t us)
{
	__HAL_TIM_SET_COUNTER(&htim7,0);  // set the counter value a 0
	while (__HAL_TIM_GET_COUNTER(&htim7) < us);  // wait for the counter to reach the us input in the parameter
}

void HAL_TIM_IC_CaptureCallback(TIM_HandleTypeDef *htim)
{
	if (htim->Channel == HAL_TIM_ACTIVE_CHANNEL_1)  // if the interrupt source is channel1
	{
		if (Is_First_Captured==0) // if the first value is not captured
		{
			Echo_Val1 = HAL_TIM_ReadCapturedValue(htim, TIM_CHANNEL_1); // read the first value
			Is_First_Captured = 1;  // set the first captured as true
			// Now change the polarity to falling edge
			__HAL_TIM_SET_CAPTUREPOLARITY(htim, TIM_CHANNEL_1, TIM_INPUTCHANNELPOLARITY_FALLING);
		}

		else if (Is_First_Captured==1)   // if the first is already captured
		{
			Echo_Val2 = HAL_TIM_ReadCapturedValue(htim, TIM_CHANNEL_1);  // read second value
			__HAL_TIM_SET_COUNTER(htim, 0);  // reset the counter

			if (Echo_Val2 > Echo_Val1)
			{
				Difference = Echo_Val2-Echo_Val1;
			}

			else if (Echo_Val1 > Echo_Val2)
			{
				//Difference = (0xffff - Echo_Val1) + Echo_Val2;
				Difference = 0;
			}

			ultra_Distance = (Difference * 0.0343)/2;
			Is_First_Captured = 0; // set it back to false

			// set polarity to rising edge
			__HAL_TIM_SET_CAPTUREPOLARITY(htim, TIM_CHANNEL_1, TIM_INPUTCHANNELPOLARITY_RISING);
			__HAL_TIM_DISABLE_IT(&htim4, TIM_IT_CC1);
		}
	}
}

void HCSR04_Read (void)
{
	HAL_GPIO_WritePin(Trig_GPIO_Port, Trig_Pin, GPIO_PIN_SET);  // pull the TRIG pin HIGH
	delay_us(10);  // wait for 10 us
	HAL_GPIO_WritePin(Trig_GPIO_Port, Trig_Pin, GPIO_PIN_RESET);  // pull the TRIG pin low

	__HAL_TIM_ENABLE_IT(&htim4, TIM_IT_CC1);
}
/* USER CODE END 4 */

void StartDefaultTask(void *argument)
{
  /* USER CODE BEGIN 5 */
	int progress = -1;
	command.MOTOR_DIR = 0;
	command.SERVO_DIR = 0;
	command.MAGNITUDE = 0;
	TURNING_ANGLE = 0;
	LEFTWHEEL_DIST = 0;
	RIGHTWHEEL_DIST = 0;
//	uint32_t tick;
//	tick = HAL_GetTick();
  /* Infinite loop */
  for(;;)
  {
	//Clear queue if XXX command received
	if (RX_FLAG == 1){
		if (RX_MOTOR == 'R' && RX_SERVO == 'S'){
			TOTAL_ANGLE = 0;
//			HAL_NVIC_SystemReset();
			TX_STRING[0] = 'A'; TX_STRING[1] = 'L'; TX_STRING[2] = 'G'; TX_STRING[3] = '|';
			TX_STRING[4] = 'C'; TX_STRING[5] = 'M'; TX_STRING[6] = 'P'; TX_STRING[7] = 'L'; TX_STRING[8] = 'T';
			HAL_UART_Transmit_IT(&huart3,(uint8_t *)TX_STRING,9);
		}
		else if (RX_MOTOR == 'X' && RX_SERVO == 'X'){
			//Force stop
			//Used to stop when the ultra sonic sensor is <= 40cm
			progress = calc_progress(command); //return progress in XXX = XX.X%
			command.MOTOR_DIR = 0;
			command.SERVO_DIR = 0;
			command.MAGNITUDE = 0;
			reset_trackers();
			BUSY = 0;
		}
		else {
			if (BUSY == 0) {
				command.MOTOR_DIR = RX_MOTOR;
				command.SERVO_DIR = RX_SERVO;
				command.MAGNITUDE = RX_MAG;
				if (command.MOTOR_DIR == 'F' && command.SERVO_DIR != 'C'){
					if (command.SERVO_DIR == 'L') TARGET_ANGLE += command.MAGNITUDE;
					if (command.SERVO_DIR == 'R') TARGET_ANGLE -= command.MAGNITUDE;
				}
				else if (command.MOTOR_DIR == 'B' && command.SERVO_DIR != 'C'){
					if (command.SERVO_DIR == 'L') TARGET_ANGLE -= command.MAGNITUDE;
					if (command.SERVO_DIR == 'R') TARGET_ANGLE += command.MAGNITUDE;
				}
				if (TARGET_ANGLE >= 720) TARGET_ANGLE -= 720;
				if (TARGET_ANGLE <= -720) TARGET_ANGLE += 720;
				reset_trackers();
				BUSY = 1;
			}
			else {
				TX_STRING[0] = 'R'; TX_STRING[1] = 'P'; TX_STRING[2] = 'I'; TX_STRING[3] = '|';
				TX_STRING[4] = 'B'; TX_STRING[5] = 'U'; TX_STRING[6] = 'S'; TX_STRING[7] = 'Y'; TX_STRING[8] = '_';
				HAL_UART_Transmit_IT(&huart3,(uint8_t *)TX_STRING,9);
//				send_message(UART_RPI, TX_STRING);
			}
		}
		RX_FLAG = 0;
	}
  	HAL_GPIO_TogglePin(GPIOE, LED_3_Pin);
  	if (BUSY == 1) state_controller(&command);
  	prep_robot(command.MOTOR_DIR, command.SERVO_DIR);
  	//used to send complete command when the robot is ready and in position to take pic
  	if (progress != -1){
  		//Transmit progress
  		TX_STRING[0] = 'A'; TX_STRING[1] = 'L'; TX_STRING[2] = 'G'; TX_STRING[3] = '|';
		TX_STRING[4] = 'P'; TX_STRING[5] = '='; TX_STRING[6] = '0'+((progress/100)%10); TX_STRING[7] = '0'+((progress/10)%10); TX_STRING[8] = '0'+((progress)%10);
		HAL_UART_Transmit_IT(&huart3,(uint8_t *)TX_STRING,9);
		progress = -1;
  	}
	osDelay(100);
  }
  /* USER CODE END 5 */
}

void show(void *argument)
{
  /* USER CODE BEGIN show */
  /* Infinite loop */
	for (;;){
		sprintf(OLED_Row_1,"PWM L: %6d\0",PWML);
		sprintf(OLED_Row_2,"PWM R: %6d\0",PWMR);
//		sprintf(OLED_Row_3,"SPD L: %6d\0",left_speed);
//		sprintf(OLED_Row_4,"SPD R: %6d\0",right_speed);
//		sprintf(OLED_Row_2,"OFFST: %6d\0",ANGLE_OFFSET);
//		sprintf(OLED_Row_3,"DEVIA: %6d\0",(int)DEVIATION);
		sprintf(OLED_Row_3,"T ANG: %6d\0",(int)TARGET_ANGLE);
		OLED_ShowString(10,0,OLED_Row_0); //Show motor state
		OLED_ShowString(10,10,OLED_Row_1);
		OLED_ShowString(10,20,OLED_Row_2);
		OLED_ShowString(10,30,OLED_Row_3);
		OLED_ShowString(10,40,OLED_Row_4);
		OLED_ShowString(10,50,OLED_Row_5);
		OLED_Refresh_Gram();
	}
  /* USER CODE END show */
}

void Motor(void *argument)
{
  /* USER CODE BEGIN Motor */
	//start generating PWN signal for me
	HAL_TIM_PWM_Start(&htim8 , TIM_CHANNEL_1); // MotorA
	HAL_TIM_PWM_Start(&htim8 , TIM_CHANNEL_2); // MotorB
	HAL_TIM_PWM_Start(&htim1, TIM_CHANNEL_4); // Servo Motor
	motor_dir = 0; servo_dir = 0;
	forward_motor_prep();
	servomotor_center();

	int pwm_L_f, pwm_L_b;
	int pwm_R_f, pwm_R_b;
	int pwm_L_div = 1, pwm_R_div = 1;
//	int offset_L, offset_R;
	pwm_L_f = 2500; //Speed 2500 > 1950, 4000 > 3120, 3200 > 2500
	pwm_L_b = 2625; //Speed 2500 > 2050, 4000 > 3280, 3200 > 2625
	pwm_R_f = 2625; //Speed 2500 > 2050, 4000 > 3280, 3200 > 2625
	pwm_R_b = 2690; //Speed 2500 > 2100, 4000 > 3360, 3200 > 2690
//	double deviation_angle, deviation_prev;
//	double turning_prev = 0;
//	double off_angle = 0;

	struct PIDController motor_LF_PID, motor_RF_PID, motor_LB_PID, motor_RB_PID;

	MotorPIDController_Init(&motor_LF_PID);
	MotorPIDController_Init(&motor_RF_PID);
	MotorPIDController_Init(&motor_LB_PID);
	MotorPIDController_Init(&motor_RB_PID);
	//Make sure the Servo motor position is in middle position
	servomotor_right();
	osDelay(500);
	servomotor_left();
	osDelay(500);
	servomotor_center();
	/* Infinite loop */
	uint32_t tick = HAL_GetTick();
	uint32_t pid_time_start = 0;
	RX_FLAG = 1;
	RX_MOTOR = 'F';
	RX_SERVO = 'C';
	RX_MAG = 30;
	for(;;)
	{	if (HAL_GetTick() - tick > 100L){
			//Calculate wheel speed change from turning
			if (servo_dir != 0){
				if (servo_dir == -1) {pwm_L_div = 2; pwm_R_div = 1;}
				if (servo_dir == 1) {pwm_L_div = 1; pwm_R_div = 2;}
			}
			else {pwm_L_div = 1; pwm_R_div = 1;}
			//Calculate deviation
			if (motor_dir != 0 && servo_dir == 0){
				ANGLE_OFFSET = 3*((int)3*(TARGET_ANGLE - TOTAL_ANGLE));
				if (ANGLE_OFFSET >= 10) ANGLE_OFFSET = 10;
				if (ANGLE_OFFSET <= -10) ANGLE_OFFSET = -10;
			}
			//Control PID enable
			if (PID_DELAY == 1){
				pid_time_start = HAL_GetTick();
				PID_DELAY = 0;
			}
			if (PID_ENABLE == 0 && (HAL_GetTick() - pid_time_start > 400L)){
				PID_ENABLE = 1;
			}
			//Control motor
			if (motor_dir == 1){
				//Start the motor
				__HAL_TIM_SetCompare(&htim8, TIM_CHANNEL_1, pwm_L_f/pwm_L_div);
				__HAL_TIM_SetCompare(&htim8, TIM_CHANNEL_2, pwm_R_f/pwm_R_div);
//				if (servo_dir == 0) servomotor_set(SERVO_CENTER-ANGLE_OFFSET);
				//ADD PID CONTROL
				if (PID_ENABLE == 1){
					pwm_L_f = pwm_L_div*PIDController_Update(&motor_LF_PID, left_speed, 3200/pwm_L_div, pwm_L_f/pwm_L_div);
					pwm_R_f = pwm_R_div*PIDController_Update(&motor_RF_PID, right_speed, 3200/pwm_R_div, pwm_R_f/pwm_R_div);
				}
				//display to OLED
				PWML = pwm_L_f/pwm_L_div;
				PWMR = pwm_R_f/pwm_R_div;
			}
			else if (motor_dir == -1){
				//Start the motor
				__HAL_TIM_SetCompare(&htim8, TIM_CHANNEL_1, pwm_L_b/pwm_L_div);
				__HAL_TIM_SetCompare(&htim8, TIM_CHANNEL_2, pwm_R_b/pwm_R_div);
//				if (servo_dir == 0) servomotor_set(SERVO_CENTER+ANGLE_OFFSET);
				//ADD PID CONTROL
				if (PID_ENABLE == 1){
					pwm_L_b = pwm_L_div*PIDController_Update(&motor_LB_PID, left_speed, 3200/pwm_L_div, pwm_L_b/pwm_L_div);
					pwm_R_b = pwm_R_div*PIDController_Update(&motor_RB_PID, right_speed, 3200/pwm_R_div, pwm_R_b/pwm_R_div);
				}
				//Display to OLED
				PWML = pwm_L_b/pwm_L_div;
				PWMR = pwm_R_b/pwm_R_div;
			}
			else {
				PWML = 0;
				PWMR = 0;
				PID_ENABLE = 0;
				ANGLE_OFFSET = 0;
//				turning_prev = TOTAL_ANGLE-TARGET_ANGLE;
//				deviation_prev = 0;
			}
			tick = HAL_GetTick();
		}
		osDelay(10);
	}
  /* USER CODE END Motor */
}

void encoder_task(void *argument)
{
  /* USER CODE BEGIN encoder_task */
  /* Infinite loop */
  HAL_TIM_Encoder_Start(&htim2,TIM_CHANNEL_ALL); //activate the encoder for Motor A
  HAL_TIM_Encoder_Start(&htim3,TIM_CHANNEL_ALL); //activate the encoder for Motor B
  int left_prev, left_curr, left_diff, right_prev, right_curr, right_diff;
  int dir_L, dir_R;

  uint32_t tick, cur_tick, T;

  left_prev = __HAL_TIM_GET_COUNTER(&htim2);
  right_prev = __HAL_TIM_GET_COUNTER(&htim3);
  tick = HAL_GetTick(); //tick value in milliseconds

  for(;;)
  {
	  cur_tick = HAL_GetTick();
	  if (cur_tick - tick > 50L){ //every 0.05 second
		  left_curr = __HAL_TIM_GET_COUNTER(&htim2);
		  right_curr = __HAL_TIM_GET_COUNTER(&htim3);
		  //Left encoder
		  if(__HAL_TIM_IS_TIM_COUNTING_DOWN(&htim2)){
			  if(left_curr <= left_prev){
				  left_diff = left_prev - left_curr;
			  }
			  else {
				  left_diff = (65535 - left_curr) + left_prev; //handle overflow situation
			  }
			  dir_L = 1;
		  }
		  else {
			  if(left_curr >= left_prev){
				  left_diff = left_curr - left_prev;
			  }
			  else {
				  left_diff = (65535 - left_prev) + left_curr;
			  }
			  dir_L = -1;
		  }
		  //Right encoder
		  if(__HAL_TIM_IS_TIM_COUNTING_DOWN(&htim3)){
			  if(right_curr <= right_prev){
				  right_diff = right_prev - right_curr;
			  }
			  else {
				  right_diff = (65535 - right_curr) + right_prev; //handle overflow situation
			  }
			  dir_R = -1;
		  }
		  else {
			  if(right_curr >= right_prev){
				  right_diff = right_curr - right_prev;
			  }
			  else {
				  right_diff = (65535 - right_prev) + right_curr;
			  }
			  dir_R = 1;
		  }
		  T = cur_tick - tick;
		  //Show speed in ticks/s
		  left_speed = left_diff * (1000/T);
		  right_speed = right_diff * (1000/T);

		  //Calculate distance traveled
//		  distInt_L += left_diff * dir_L;
//		  distInt_R += right_diff * dir_R;
//		  sprintf(OLED_Row_1, "DST L: %6d\0", distInt_L);
//		  sprintf(OLED_Row_2, "DST R: %6d\0", distInt_R);
		  LEFTWHEEL_DIST += (double)left_diff * (circumference_wheel/full_rotation_wheel);
		  RIGHTWHEEL_DIST += (double)right_diff * (circumference_wheel/full_rotation_wheel);

		  //Reset counters
		  left_prev = __HAL_TIM_GET_COUNTER(&htim2);
		  right_prev = __HAL_TIM_GET_COUNTER(&htim3);
		  tick = HAL_GetTick(); //tick value in milliseconds
	  }
	  osDelay(10);
  }
  /* USER CODE END encoder_task */
}

void gyro_task(void *argument)
{
  /* USER CODE BEGIN gyro_task */
  /* Infinite loop */
	double offset = 7.848882995;//High power offset 7.85 //Low power offset 7.8475
	double angle;
  for(;;)
  {
	  uint8_t val[2] = {0, 0};
	  int16_t angular_speed = 0;

	  uint32_t tick = 0;
	  gyroInit();

	  tick = HAL_GetTick();
	  osDelayUntil(10);

	  for (;;)
	  {

	    osDelay(10);
	    if (HAL_GetTick() - tick >= 50L)
	    {
	      readByte(0x37, val);
	      angular_speed = (val[0] << 8) | val[1];

//	      if (motor_dir == 0){
//	    	  offset = (offset-(double)(angular_speed))/2;
//	      }

	      angle = ((double)(angular_speed)+offset) * ((HAL_GetTick() - tick) / 16400.0);
//	      if (motor_dir == 0) angle = 0;
	      TOTAL_ANGLE += angle;
	      TURNING_ANGLE += angle;

	      // prevSpeed = angular_speed;
	      if (TOTAL_ANGLE >= 720)
	      {
	        TOTAL_ANGLE -= 720;
	      }
	      if (TOTAL_ANGLE <= -720)
	      {
	        TOTAL_ANGLE += 720;
	      }
//	      sprintf(OLED_Row_1, "OFSET: %6d\0", (int)((offset*10000)));
	      sprintf(OLED_Row_4, "ANGLE: %6d\0", (int)(TOTAL_ANGLE));
	      sprintf(OLED_Row_5, "A_100: %6d\0", (int)(100*TOTAL_ANGLE));

	      tick = HAL_GetTick();
	    }
	  }
    osDelay(1);
  }
  /* USER CODE END gyro_task */
}

void ultrasound_task(void *argument)
{
  /* USER CODE BEGIN ultrasound_task */
  /* Infinite loop */
	int MAX_DIST = 30;
	HAL_TIM_IC_Start_IT(&htim4, TIM_CHANNEL_1);
	uint32_t tick;
	tick = HAL_GetTick();
	for(;;)
	{
	  if (HAL_GetTick() - tick > 50L) {
		  if (RX_MAG > 399) MAX_DIST = 20L;
		  else MAX_DIST = 30L;
		  HCSR04_Read();
		  osDelay(10);
		  if (ultra_Distance > 50) ultra_Distance = -1;
		  sprintf(OLED_Row_0, "UDIST: %6d\0", (int)ultra_Distance);
		  if (motor_dir == 1 && ultra_Distance <= MAX_DIST && ultra_Distance > 5L && RX_MAG >= 199){ //avoid collision with the obstacle
				__HAL_TIM_SetCompare(&htim8, TIM_CHANNEL_1, 0);
				__HAL_TIM_SetCompare(&htim8, TIM_CHANNEL_2, 0);
				PWML = 0;
				PWMR = 0;
				PID_ENABLE = 0;
				//Stop the movement of the robot and send the current progress
				//Pass the control over to StartDefaultTask()
				RX_FLAG = 1;
				RX_MOTOR = 'X';
				RX_SERVO = 'X';
		  }
		  tick = HAL_GetTick();
	  }
	  //HAL_TIM_IC_Stop_IT(&htim4,TIM_CHANNEL_1);
	}
  /* USER CODE END ultrasound_task */
}

void Error_Handler(void)
{
  __disable_irq();
  while (1)
  {
  }
}
